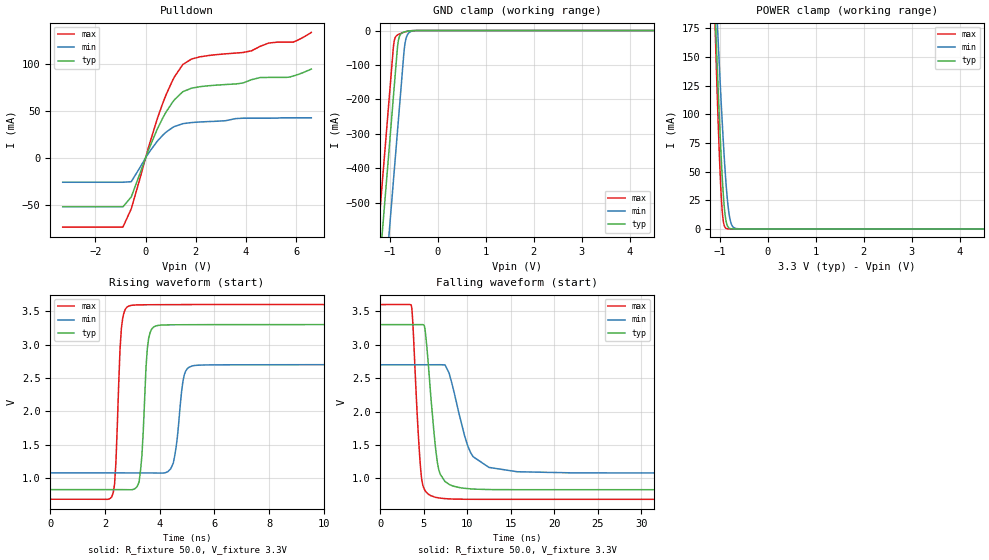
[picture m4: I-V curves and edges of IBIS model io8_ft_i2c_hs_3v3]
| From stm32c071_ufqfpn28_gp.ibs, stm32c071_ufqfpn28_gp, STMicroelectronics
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[Model]   io8_ft_i2c_hs_3v3
Model_type I/O_open_drain
Polarity   Non-Inverting
Enable   Active-Low
| CAP_THRESHOLD on pad IOFT is "UDTCAPC" :
| Rising=30.0% of vddiom   Falling=70.0% of vddiom
| C_comp min and max val. don't necessarily correlate with the min and max pvt
| but are the smallest and greatest pad capacitance found.
| var   typ   min   max
C_comp   2.42353pF  2.36361pF  2.44769pF
|C_comp_pulldown   2.42353pF  2.36361pF  2.44769pF
Vinl = 1.35V
Vinh = 1.8V
Vmeas = 1.65V   | Reference voltage for timing measurements
Cref  = 50.0pF   | Timing specification test load capacitance value
Rref  = 1.0MOhm   | Timing specification test load resistance value
Vref  = 1.815V   | Timing specification test load voltage
[Model Spec]
| TIME_THRESHOLD on pin ZII2CV12 is "CMOS" :
| Rising=50.0% of vdd   Falling=50.0% of vdd
Vinl 1.34770V 1.11370V 1.44970V
Vinh 1.77530V 1.49530V 1.90330V
| variable   typ   min   max
[Temperature Range] 25.0 125.0 -40.0
| variable   typ   min   max
[Voltage Range] 3.3V 2.7V 3.6V
| variable   typ   min   max
[POWER Clamp Reference] 3.3V 2.7V 3.6V
| variable   typ   min   max
[GND Clamp Reference] 0V 0V 0V
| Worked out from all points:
|   slope of the pulldown table from 0 to 0.495 V, typ, clamps not added: 15.4 ohm
|   GND clamp passes 1 mA (typ) near -0.58 V on its own axis
|   POWER clamp passes 1 mA (typ) near -0.81 V on its own axis
|   rising waveform, R_fixture 50.0, V_fixture 3.3V: 20-80 % time 178ps typ, 250ps min, 161ps max; typ from 0.831 V to 3.3 V
|   falling waveform, R_fixture 50.0, V_fixture 3.3V: 20-80 % time 1.01ns typ, 2ns min, 705ps max; typ from 3.3 V to 0.831 V
[POWER Clamp]
-3.3V     2.991A     2.543A     3.694A
-1.1V     191.1mA    222.7mA    177.1mA
-1.08V    169mA      204.2mA    149.9mA
-1.05V    136.9mA    176.9mA    110.9mA
-1.01V    96.55mA    141.6mA    64.02mA
-970mV    60.39mA    108.2mA    27.41mA
-930mV    31.08mA    77.43mA    7.282mA
-900mV    15.67mA    56.69mA    2.025mA
-860mV    4.779mA    33.42mA    315.2uA
-780mV    272.1uA    6.953mA    6.98uA
-670mV    4.467uA    374.2uA    36.58nA
6.6V      0A         0A         0A
[GND Clamp]
-3.3V     -4.227A    -4.472A    -4.082A
-1.25V    -742.2mA   -986.7mA   -597.4mA
-930mV    -198.2mA   -442.7mA   -53.39mA
-920mV    -181.2mA   -425.7mA   -39.67mA
-890mV    -130.2mA   -374.7mA   -20.93mA
-830mV    -35.33mA   -272.7mA   -12.06mA
-790mV    -14.13mA   -204.7mA   -9.442mA
-720mV    -5.312mA   -85.66mA   -5.702mA
-690mV    -3.888mA   -42.66mA   -4.338mA
-650mV    -2.529mA   -17.47mA   -2.784mA
-480mV    -113.2uA   -479.8uA   -69.15uA
6.6V      942.9pA    93.37nA    678.9pA
| variable   typ   min   max
[Pullup Reference] 3.3V 2.7V 3.6V
| variable   typ   min   max
[Pulldown Reference] 0V 0V 0V
[Pulldown]
-3.3V     -51.88mA   -25.81mA   -73.46mA
-900mV    -51.88mA   -25.81mA   -73.32mA
-570mV    -41.39mA   -25.18mA   -53.99mA
120mV     8.622mA    5.148mA    11.58mA
690mV     42.7mA     24.28mA    58.45mA
1.08V     59.39mA    32.34mA    82.54mA
1.48V     70.24mA    36.36mA    99.08mA
2.17V     75.62mA    38.17mA    107.3mA
3.88V     79.57mA    42.16mA    111.9mA
4.9V      85.45mA    42.16mA    121.9mA
5.88V     86.9mA     42.6mA     122.9mA
6.6V      94.4mA     42.6mA     133.3mA
[Ramp]
dV/dt_r 1.48133V/174.36171ps 971.09142mV/245.89798ps 1.74773V/156.00777ps
dV/dt_f 1.48135V/1.01482ns 971.12087mV/2.00077ns 1.74775V/705.23936ps
R_load = 50.0
| Removed startup time: 0s 0s 0s  .
| Removed end time: 29.7ns.
[Rising Waveform]
R_fixture   = 50.0
V_fixture   = 3.3V
V_fixture_min = 2.7V
V_fixture_max = 3.6V
0s        831.1mV    1.081V     687.1mV
2.25ns    830.8mV    1.081V     724.8mV
2.4ns     830.7mV    1.081V     1.236V
2.6ns     830.6mV    1.081V     3.241V
2.95ns    829.2mV    1.081V     3.586V
3.25ns    951.9mV    1.081V     3.594V
3.55ns    2.948V     1.081V     3.596V
3.9ns     3.283V     1.079V     3.597V
5.25ns    3.298V     2.686V     3.599V
29.7ns    3.3V       2.7V       3.6V
| Removed startup time: 0s 0s 0s  .
| Removed end time: 199.775ns.
[Falling Waveform]
R_fixture   = 50.0
V_fixture   = 3.3V
V_fixture_min = 2.7V
V_fixture_max = 3.6V
0s        3.3V       2.7V       3.6V
3.575ns   3.3V       2.7V       3.584V
3.75ns    3.3V       2.7V       3.311V
4.55ns    3.301V     2.7V       1.299V
5.05ns    3.289V     2.7V       843.8mV
6.45ns    1.351V     2.7V       714.7mV
7.425ns   956.7mV    2.698V     697.5mV
10.68ns   840.3mV    1.325V     687.7mV
15.73ns   831mV      1.1V       687.1mV
199.8ns   831.1mV    1.081V     687.1mV
